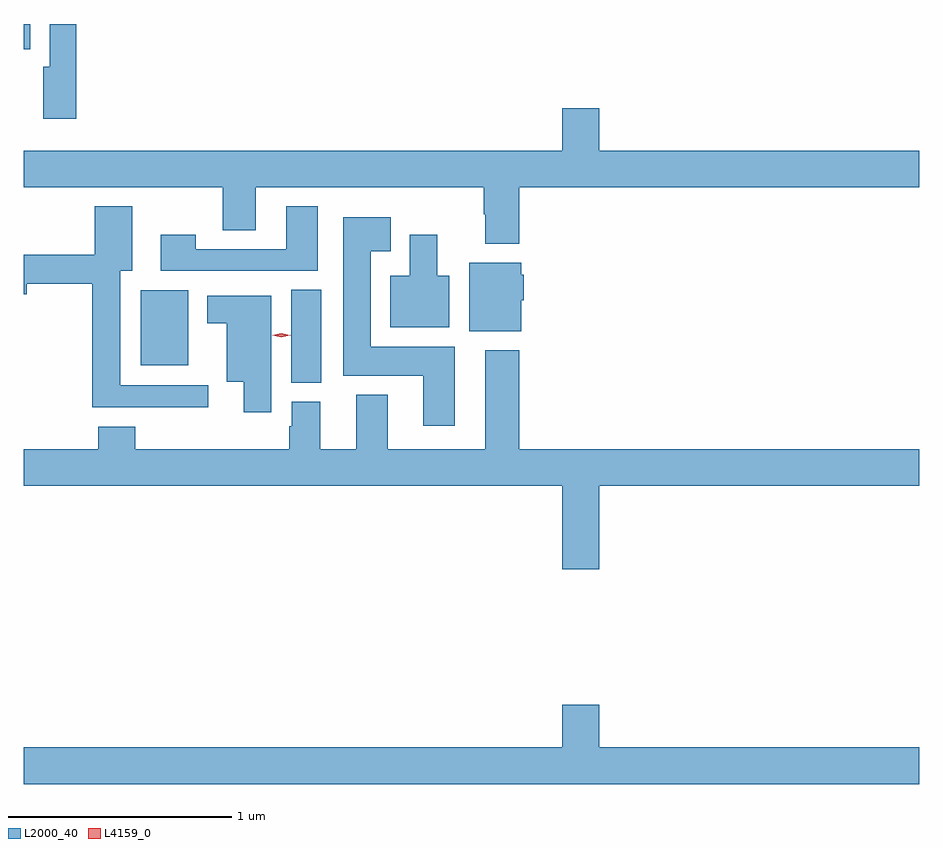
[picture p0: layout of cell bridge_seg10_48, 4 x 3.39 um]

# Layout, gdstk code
import gdstk
lib = gdstk.Library(unit=1e-6, precision=1e-09)
def R(c, l, rs):  # rectangles x0, y0, x1, y1
    for r in rs: c.add(gdstk.rectangle(r[:2], r[2:], *l))
def P(c, l, *ps):  # polygons
    for p in ps: c.add(gdstk.Polygon(p, *l))
L2000_40 = (2000, 40)
L4159_0 = (4159, 0)

bridge_seg10_48 = lib.new_cell('bridge_seg10_48')
R(bridge_seg10_48, L2000_40, [(871.088,1324.753,871.222,1325.168), (870.416,1324.829,870.628,1325.164), (869.894,1326.241,869.923,1326.354)])
P(bridge_seg10_48, L2000_40, [(870.13,1326.354),(870.011,1326.354),(870.011,1326.163),(869.981,1326.163),(869.981,1325.931),(870.13,1325.931)],
  [(872.108,1325.624),(873.894,1325.624),(873.894,1325.788),(872.464,1325.788),(872.464,1325.977),(872.3,1325.977),(872.3,1325.788),(869.894,1325.788),(869.894,1325.624),(870.784,1325.624),(870.784,1325.434),(870.931,1325.434),(870.931,1325.624),(871.948,1325.624),(871.948,1325.504),(871.955,1325.504),(871.955,1325.372),(872.108,1325.372)],
  [(870.718,1324.74),(870.325,1324.74),(870.325,1325.252),(870.379,1325.252),(870.379,1325.539),(870.212,1325.539),(870.212,1325.323),(869.894,1325.323),(869.894,1325.147),(869.908,1325.147),(869.908,1325.194),(870.2,1325.194),(870.2,1324.643),(870.718,1324.643)],
  [(871.207,1325.539),(871.067,1325.539),(871.067,1325.349),(870.663,1325.349),(870.663,1325.413),(870.507,1325.413),(870.507,1325.253),(871.207,1325.253)],
  [(871.819,1324.912),(871.444,1324.912),(871.444,1325.339),(871.534,1325.339),(871.534,1325.491),(871.322,1325.491),(871.322,1324.784),(871.679,1324.784),(871.679,1324.56),(871.819,1324.56)],
  [(871.795,1325.23),(871.741,1325.23),(871.741,1325.413),(871.619,1325.413),(871.619,1325.23),(871.532,1325.23),(871.532,1325),(871.795,1325)],
  [(872.116,1325.121),(872.128,1325.121),(872.128,1325.235),(872.116,1325.235),(872.116,1325.287),(871.883,1325.287),(871.883,1324.982),(872.116,1324.982)],
  [(871,1325.14),(870.713,1325.14),(870.713,1325.018),(870.8,1325.018),(870.8,1324.757),(870.878,1324.757),(870.878,1324.62),(871,1324.62)],
  [(872.464,1324.292),(873.894,1324.292),(873.894,1324.456),(872.108,1324.456),(872.108,1324.897),(871.955,1324.897),(871.955,1324.456),(871.519,1324.456),(871.519,1324.699),(871.379,1324.699),(871.379,1324.456),(871.219,1324.456),(871.219,1324.668),(871.091,1324.668),(871.091,1324.557),(871.079,1324.557),(871.079,1324.456),(870.392,1324.456),(870.392,1324.555),(870.227,1324.555),(870.227,1324.456),(869.894,1324.456),(869.894,1324.292),(872.3,1324.292),(872.3,1323.918),(872.464,1323.918)],
  [(873.894,1323.124),(872.464,1323.124),(872.464,1323.313),(872.3,1323.313),(872.3,1323.124),(869.894,1323.124),(869.894,1322.96),(873.894,1322.96)])
P(bridge_seg10_48, L4159_0, [(871.045,1324.954),(871.004,1324.964),(871.004,1324.964),(871.004,1324.964),(871.045,1324.974),(871.085,1324.964),(871.086,1324.964),(871.085,1324.964)])

lib.write_gds('bridge_seg10_48.gds')
